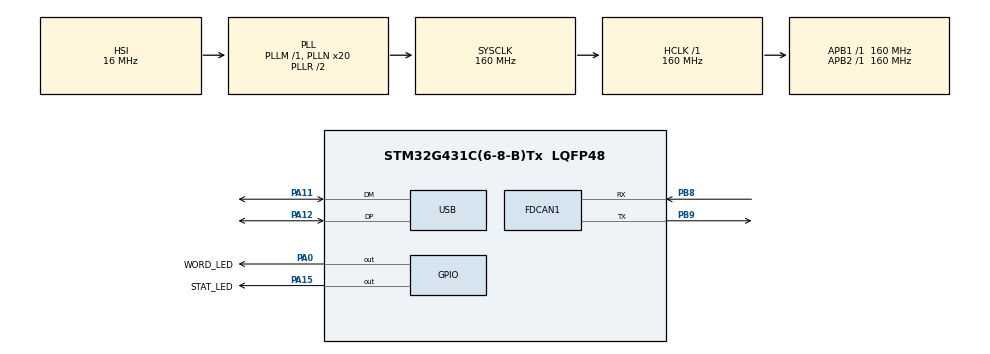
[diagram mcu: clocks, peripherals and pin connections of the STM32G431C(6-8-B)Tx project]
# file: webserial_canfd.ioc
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FDCAN1.AutoRetransmission=ENABLE
FDCAN1.CalculateBaudRateNominal=1000000
FDCAN1.CalculateTimeBitNominal=1000
FDCAN1.CalculateTimeQuantumNominal=12.5
FDCAN1.DataSyncJumpWidth=7
FDCAN1.DataTimeSeg1=32
FDCAN1.DataTimeSeg2=7
FDCAN1.FrameFormat=FDCAN_FRAME_FD_BRS
FDCAN1.NominalPrescaler=1
FDCAN1.NominalSyncJumpWidth=12
FDCAN1.NominalTimeSeg1=67
FDCAN1.NominalTimeSeg2=12
Mcu.Family=STM32G4
Mcu.Name=STM32G431C(6-8-B)Tx
Mcu.Package=LQFP48
NVIC.PriorityGroup=NVIC_PRIORITYGROUP_4
NVIC.USB_LP_IRQn=true\:0\:0\:false\:false\:true\:false\:true\:true
PA0.GPIO_Label=WORD_LED
PA0.Signal=GPIO_Output
PA11.Mode=Device
PA11.Signal=USB_DM
PA12.Mode=Device
PA12.Signal=USB_DP
PA13.GPIO_Label=SWDIO
PA13.Mode=Serial_Wire
PA13.Signal=SYS_JTMS-SWDIO
PA14.GPIO_Label=SWCLK
PA14.Mode=Serial_Wire
PA14.Signal=SYS_JTCK-SWCLK
PA15.GPIO_Label=STAT_LED
PA15.Signal=GPIO_Output
PB8-BOOT0.Mode=FDCAN_Activate
PB8-BOOT0.Signal=FDCAN1_RX
PB9.Mode=FDCAN_Activate
PB9.Signal=FDCAN1_TX
ProjectManager.HeapSize=0x200
ProjectManager.StackSize=0x400
ProjectManager.TargetToolchain=STM32CubeIDE
RCC.ADC12Freq_Value=160000000
RCC.AHBFreq_Value=160000000
RCC.APB1Freq_Value=160000000
RCC.APB1TimFreq_Value=160000000
RCC.APB2Freq_Value=160000000
RCC.APB2TimFreq_Value=160000000
RCC.CK48CLockSelection=RCC_USBCLKSOURCE_HSI48
RCC.CortexFreq_Value=160000000
RCC.EXTERNAL_CLOCK_VALUE=12288000
RCC.FDCANCLockSelection=RCC_FDCANCLKSOURCE_PLL
RCC.HCLKFreq_Value=160000000
RCC.HSE_VALUE=8000000
RCC.HSI48_VALUE=48000000
RCC.HSI_VALUE=16000000
RCC.LSE_VALUE=32768
RCC.PLLN=20
RCC.PLLQ=RCC_PLLQ_DIV4
RCC.SYSCLKFreq_VALUE=160000000
RCC.SYSCLKSource=RCC_SYSCLKSOURCE_PLLCLK
RCC.USBFreq_Value=48000000
RCC.VCOOutputFreq_Value=320000000
TIM2.Prescaler=1599
USB_DEVICE.APP_TX_DATA_SIZE=64
USB_DEVICE.CLASS_NAME_FS=CDC
USB_DEVICE.USBD_SELF_POWERED=0
USB_DEVICE.VirtualMode=Cdc
USB_DEVICE.VirtualModeFS=Cdc_FS
VP_SYS_VS_DBSignals.Mode=DisableDeadBatterySignals
VP_TIM2_VS_ClockSourceINT.Mode=Internal
VP_USB_DEVICE_VS_USB_DEVICE_CDC_FS.Mode=CDC_FS
board=custom

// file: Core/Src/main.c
/* USER CODE BEGIN Header */
/**
  ******************************************************************************
  * @file           : main.c
  * @brief          : Main program body
  ******************************************************************************
  * @attention
  *
  * Copyright (c) 2026 STMicroelectronics.
  * All rights reserved.
  *
  * This software is licensed under terms that can be found in the LICENSE file
  * in the root directory of this software component.
  * If no LICENSE file comes with this software, it is provided AS-IS.
  *
  ******************************************************************************
  */
/* USER CODE END Header */
#include "main.h"
#include "usb_device.h"

/* USER CODE BEGIN Includes */
#include "usbd_cdc_if.h"
#include "frameParser.h"
#include "canParser.h"
#include "UTIL_ringbuf.h"
/* USER CODE END Includes */

FDCAN_HandleTypeDef hfdcan1;

TIM_HandleTypeDef htim2;

/* USER CODE BEGIN PV */
// stm32g4xx --> usb host
tRingBufObject usbTxRb;
static uint8_t usbTxRbSto[2048];
/* USER CODE END PV */

void SystemClock_Config(void);
static void MX_GPIO_Init(void);
static void MX_FDCAN1_Init(void);
static void MX_TIM2_Init(void);

/* USER CODE BEGIN 0 */

/* DFU magic word placed in .noinit so it is not cleared by startup code */
__attribute__((section(".noinit"))) volatile uint32_t dfu_flag;

static void JumpToBootloader(void)
{
    /* Disable interrupts and de-initialize HAL */
    __disable_irq();
    HAL_DeInit();

    /* Stop SysTick */
    SysTick->CTRL = 0U;
    SysTick->LOAD = 0U;
    SysTick->VAL  = 0U;

    /* Ensure HSI48 is running (required by the ROM USB DFU bootloader) */
    RCC->CRRCR |= RCC_CRRCR_HSI48ON;
    while (!(RCC->CRRCR & RCC_CRRCR_HSI48RDY));

    /* Remap system memory to 0x00000000 */
    __HAL_SYSCFG_REMAPMEMORY_SYSTEMFLASH();

    /* Read the ROM bootloader's initial stack pointer and reset handler */
    const uint32_t bootloader_base = 0x1FFF0000UL;
    typedef void (*pFunction)(void);
    uint32_t msp   = *(volatile uint32_t *) bootloader_base;
    pFunction jump = (pFunction)(*(volatile uint32_t *)(bootloader_base + 4U));

    __set_MSP(msp);
    jump();
}

/* USER CODE END 0 */

int main(void)
{

  /* USER CODE BEGIN 1 */

  /* Enter ROM DFU bootloader if the magic word was set before the reset */
  if (dfu_flag == DFU_MAGIC_WORD) {
      dfu_flag = 0U;
      JumpToBootloader();
  }

  /* USER CODE END 1 */

  /* MCU Configuration--------------------------------------------------------*/

  /* Reset of all peripherals, Initializes the Flash interface and the Systick. */
  HAL_Init();

  /* Configure the system clock */
  SystemClock_Config();

  /* USER CODE BEGIN SysInit */
  UTIL_RingBufInit(&usbTxRb, usbTxRbSto, sizeof(usbTxRbSto));

  /* USER CODE END SysInit */

  /* Initialize all configured peripherals */
  MX_GPIO_Init();
  MX_FDCAN1_Init();
  MX_USB_Device_Init();
  MX_TIM2_Init();

  /* Infinite loop */
  /* USER CODE BEGIN WHILE */
  HAL_TIM_Base_Start(&htim2);

  while (1)
  {
    CDC_ProcessTx();
    PARSER_Process();
    CANTX_Process();
    CANRX_Process();
    CANErr_Process();
    /* USER CODE END WHILE */

  }
}

void SystemClock_Config(void)
{
  RCC_OscInitTypeDef RCC_OscInitStruct = {0};
  RCC_ClkInitTypeDef RCC_ClkInitStruct = {0};

  /** Configure the main internal regulator output voltage
  */
  HAL_PWREx_ControlVoltageScaling(PWR_REGULATOR_VOLTAGE_SCALE1_BOOST);

  /** Initializes the RCC Oscillators according to the specified parameters
  * in the RCC_OscInitTypeDef structure.
  */
  RCC_OscInitStruct.OscillatorType = RCC_OSCILLATORTYPE_HSI|RCC_OSCILLATORTYPE_HSI48;
  RCC_OscInitStruct.HSIState = RCC_HSI_ON;
  RCC_OscInitStruct.HSICalibrationValue = RCC_HSICALIBRATION_DEFAULT;
  RCC_OscInitStruct.HSI48State = RCC_HSI48_ON;
  RCC_OscInitStruct.PLL.PLLState = RCC_PLL_ON;
  RCC_OscInitStruct.PLL.PLLSource = RCC_PLLSOURCE_HSI;
  RCC_OscInitStruct.PLL.PLLM = RCC_PLLM_DIV1;
  RCC_OscInitStruct.PLL.PLLN = 20;
  RCC_OscInitStruct.PLL.PLLP = RCC_PLLP_DIV2;
  RCC_OscInitStruct.PLL.PLLQ = RCC_PLLQ_DIV4;
  RCC_OscInitStruct.PLL.PLLR = RCC_PLLR_DIV2;
  if (HAL_RCC_OscConfig(&RCC_OscInitStruct) != HAL_OK)
  {
    Error_Handler();
  }

  /** Initializes the CPU, AHB and APB buses clocks
  */
  RCC_ClkInitStruct.ClockType = RCC_CLOCKTYPE_HCLK|RCC_CLOCKTYPE_SYSCLK
                              |RCC_CLOCKTYPE_PCLK1|RCC_CLOCKTYPE_PCLK2;
  RCC_ClkInitStruct.SYSCLKSource = RCC_SYSCLKSOURCE_PLLCLK;
  RCC_ClkInitStruct.AHBCLKDivider = RCC_SYSCLK_DIV1;
  RCC_ClkInitStruct.APB1CLKDivider = RCC_HCLK_DIV1;
  RCC_ClkInitStruct.APB2CLKDivider = RCC_HCLK_DIV1;

  if (HAL_RCC_ClockConfig(&RCC_ClkInitStruct, FLASH_LATENCY_4) != HAL_OK)
  {
    Error_Handler();
  }
}

static void MX_FDCAN1_Init(void)
{

  hfdcan1.Instance = FDCAN1;
  hfdcan1.Init.ClockDivider = FDCAN_CLOCK_DIV1;
  hfdcan1.Init.FrameFormat = FDCAN_FRAME_FD_BRS;
  hfdcan1.Init.Mode = FDCAN_MODE_NORMAL;
  hfdcan1.Init.AutoRetransmission = ENABLE;
  hfdcan1.Init.TransmitPause = DISABLE;
  hfdcan1.Init.ProtocolException = DISABLE;
  hfdcan1.Init.NominalPrescaler = 1;
  hfdcan1.Init.NominalSyncJumpWidth = 12;
  hfdcan1.Init.NominalTimeSeg1 = 67;
  hfdcan1.Init.NominalTimeSeg2 = 12;
  hfdcan1.Init.DataPrescaler = 1;
  hfdcan1.Init.DataSyncJumpWidth = 7;
  hfdcan1.Init.DataTimeSeg1 = 32;
  hfdcan1.Init.DataTimeSeg2 = 7;
  hfdcan1.Init.StdFiltersNbr = 0;
  hfdcan1.Init.ExtFiltersNbr = 0;
  hfdcan1.Init.TxFifoQueueMode = FDCAN_TX_FIFO_OPERATION;
  if (HAL_FDCAN_Init(&hfdcan1) != HAL_OK)
  {
    Error_Handler();
  }

}

static void MX_TIM2_Init(void)
{

  TIM_ClockConfigTypeDef sClockSourceConfig = {0};
  TIM_MasterConfigTypeDef sMasterConfig = {0};

  htim2.Instance = TIM2;
  htim2.Init.Prescaler = 1599;
  htim2.Init.CounterMode = TIM_COUNTERMODE_UP;
  htim2.Init.Period = 4294967295;
  htim2.Init.ClockDivision = TIM_CLOCKDIVISION_DIV1;
  htim2.Init.AutoReloadPreload = TIM_AUTORELOAD_PRELOAD_DISABLE;
  if (HAL_TIM_Base_Init(&htim2) != HAL_OK)
  {
    Error_Handler();
  }
  sClockSourceConfig.ClockSource = TIM_CLOCKSOURCE_INTERNAL;
  if (HAL_TIM_ConfigClockSource(&htim2, &sClockSourceConfig) != HAL_OK)
  {
    Error_Handler();
  }
  sMasterConfig.MasterOutputTrigger = TIM_TRGO_RESET;
  sMasterConfig.MasterSlaveMode = TIM_MASTERSLAVEMODE_DISABLE;
  if (HAL_TIMEx_MasterConfigSynchronization(&htim2, &sMasterConfig) != HAL_OK)
  {
    Error_Handler();
  }

}

static void MX_GPIO_Init(void)
{
  GPIO_InitTypeDef GPIO_InitStruct = {0};

  /* GPIO Ports Clock Enable */
  __HAL_RCC_GPIOA_CLK_ENABLE();
  __HAL_RCC_GPIOB_CLK_ENABLE();

  /*Configure GPIO pin Output Level */
  HAL_GPIO_WritePin(GPIOA, WORD_LED_Pin|STAT_LED_Pin, GPIO_PIN_RESET);

  /*Configure GPIO pins : WORD_LED_Pin STAT_LED_Pin */
  GPIO_InitStruct.Pin = WORD_LED_Pin|STAT_LED_Pin;
  GPIO_InitStruct.Mode = GPIO_MODE_OUTPUT_PP;
  GPIO_InitStruct.Pull = GPIO_NOPULL;
  GPIO_InitStruct.Speed = GPIO_SPEED_FREQ_LOW;
  HAL_GPIO_Init(GPIOA, &GPIO_InitStruct);

}

void Error_Handler(void)
{
  __disable_irq();
  while (1)
  {
  }
}
